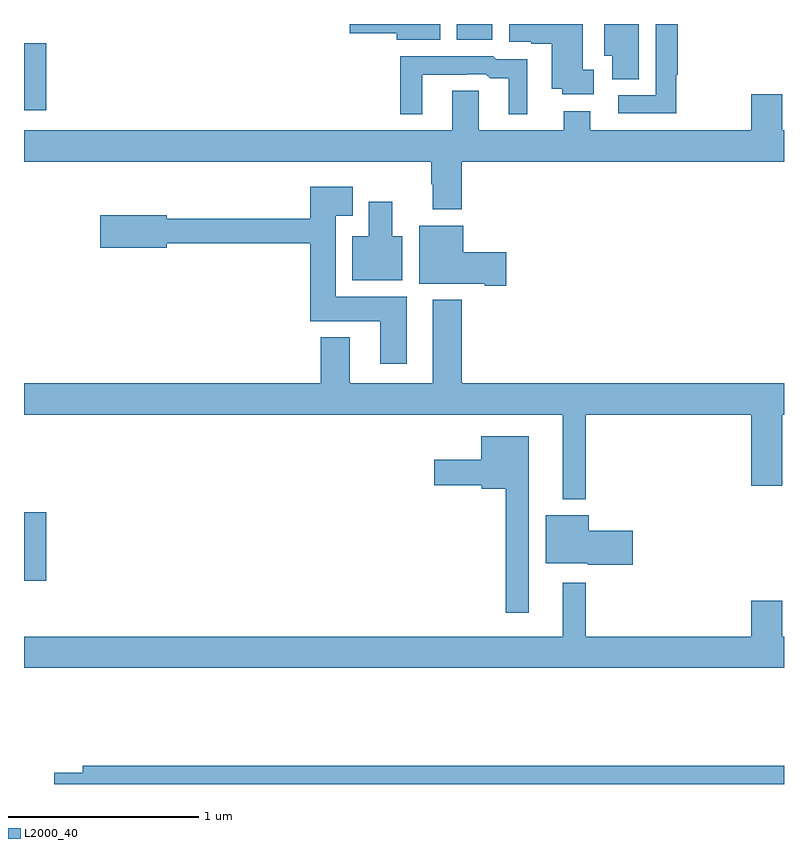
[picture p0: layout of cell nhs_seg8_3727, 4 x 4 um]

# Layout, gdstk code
import gdstk
lib = gdstk.Library(unit=1e-6, precision=1e-09)
def R(c, l, rs):  # rectangles x0, y0, x1, y1
    for r in rs: c.add(gdstk.rectangle(r[:2], r[2:], *l))
def P(c, l, *ps):  # polygons
    for p in ps: c.add(gdstk.Polygon(p, *l))
L2000_40 = (2000, 40)

nhs_seg8_3727 = lib.new_cell('nhs_seg8_3727')
R(nhs_seg8_3727, L2000_40, [(341,1104.97,341.117,1105.33), (341,1107.447,341.117,1107.799), (343.277,1107.818,343.465,1107.9)])
P(nhs_seg8_3727, L2000_40, [(343.192,1107.9),(342.714,1107.9),(342.714,1107.851),(342.962,1107.851),(342.962,1107.818),(343.192,1107.818)],
  [(343.999,1107.66),(343.942,1107.66),(343.942,1107.9),(343.554,1107.9),(343.554,1107.807),(343.67,1107.807),(343.67,1107.795),(343.778,1107.795),(343.778,1107.56),(343.832,1107.56),(343.832,1107.53),(343.999,1107.53)],
  [(344.434,1107.632),(344.441,1107.632),(344.441,1107.9),(344.325,1107.9),(344.325,1107.525),(344.127,1107.525),(344.127,1107.429),(344.434,1107.429)],
  [(344.236,1107.9),(344.054,1107.9),(344.054,1107.734),(344.096,1107.734),(344.096,1107.61),(344.236,1107.61)],
  [(343.096,1107.633),(343.331,1107.633),(343.331,1107.636),(343.431,1107.636),(343.454,1107.614),(343.55,1107.614),(343.55,1107.425),(343.648,1107.425),(343.648,1107.714),(343.485,1107.714),(343.47,1107.729),(342.979,1107.729),(342.979,1107.425),(343.096,1107.425)],
  [(341,1107.176),(343.144,1107.176),(343.144,1107.056),(343.151,1107.056),(343.151,1106.924),(343.304,1106.924),(343.304,1107.176),(345,1107.176),(345,1107.34),(344.992,1107.34),(344.992,1107.529),(344.828,1107.529),(344.828,1107.34),(343.981,1107.34),(343.981,1107.442),(343.841,1107.442),(343.841,1107.34),(343.393,1107.34),(343.393,1107.548),(343.253,1107.548),(343.253,1107.34),(341,1107.34)],
  [(343.015,1106.464),(342.64,1106.464),(342.64,1106.891),(342.73,1106.891),(342.73,1107.043),(342.506,1107.043),(342.506,1106.875),(341.752,1106.875),(341.752,1106.893),(341.4,1106.893),(341.4,1106.723),(341.752,1106.723),(341.752,1106.746),(342.506,1106.746),(342.506,1106.336),(342.875,1106.336),(342.875,1106.112),(343.015,1106.112)],
  [(342.991,1106.782),(342.937,1106.782),(342.937,1106.965),(342.815,1106.965),(342.815,1106.782),(342.728,1106.782),(342.728,1106.552),(342.991,1106.552)],
  [(343.537,1106.7),(343.312,1106.7),(343.312,1106.839),(343.079,1106.839),(343.079,1106.534),(343.424,1106.534),(343.424,1106.522),(343.537,1106.522)],
  [(343.957,1105.844),(344.828,1105.844),(344.828,1105.47),(344.992,1105.47),(344.992,1105.844),(345,1105.844),(345,1106.008),(343.304,1106.008),(343.304,1106.449),(343.151,1106.449),(343.151,1106.008),(342.715,1106.008),(342.715,1106.251),(342.563,1106.251),(342.563,1106.008),(341,1106.008),(341,1105.844),(343.835,1105.844),(343.835,1105.4),(343.957,1105.4)],
  [(343.657,1105.729),(343.406,1105.729),(343.406,1105.606),(343.158,1105.606),(343.158,1105.472),(343.41,1105.472),(343.41,1105.454),(343.536,1105.454),(343.536,1104.801),(343.657,1104.801)],
  [(344.203,1105.232),(343.972,1105.232),(343.972,1105.315),(343.745,1105.315),(343.745,1105.061),(343.968,1105.061),(343.968,1105.054),(344.203,1105.054)],
  [(345,1104.676),(344.992,1104.676),(344.992,1104.865),(344.828,1104.865),(344.828,1104.676),(343.957,1104.676),(343.957,1104.958),(343.835,1104.958),(343.835,1104.676),(341,1104.676),(341,1104.512),(345,1104.512)],
  [(345,1103.996),(341.309,1103.996),(341.309,1103.96),(341.16,1103.96),(341.16,1103.9),(345,1103.9)])

lib.write_gds('nhs_seg8_3727.gds')
